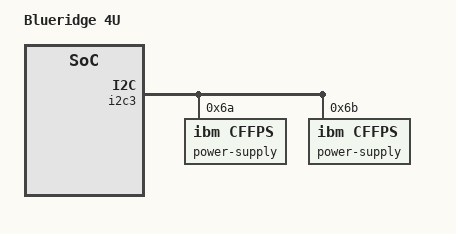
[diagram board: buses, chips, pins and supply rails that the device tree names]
// SPDX-License-Identifier: GPL-2.0-or-later
// Copyright 2024 IBM Corp.
/dts-v1/;

#include "aspeed-bmc-ibm-blueridge.dts"

/ {
	model = "Blueridge 4U";
};

&i2c3 {
	power-supply@6a {
		compatible = "ibm,cffps";
		reg = <0x6a>;
	};

	power-supply@6b {
		compatible = "ibm,cffps";
		reg = <0x6b>;
	};
};
